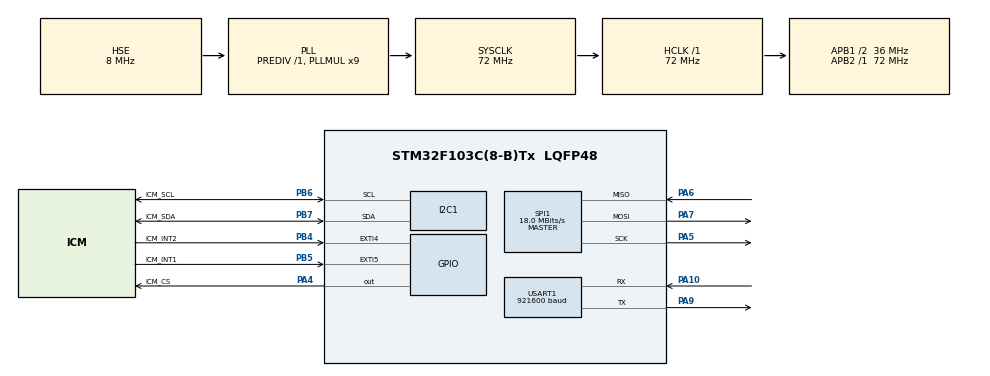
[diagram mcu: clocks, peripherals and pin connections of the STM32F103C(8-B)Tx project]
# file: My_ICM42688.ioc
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I2C1.I2C_Mode=I2C_Fast
Mcu.Family=STM32F1
Mcu.Name=STM32F103C(8-B)Tx
Mcu.Package=LQFP48
NVIC.EXTI4_IRQn=true\:2\:0\:true\:false\:true\:true\:true
NVIC.EXTI9_5_IRQn=true\:1\:0\:true\:false\:true\:true\:true
NVIC.PriorityGroup=NVIC_PRIORITYGROUP_4
NVIC.USART1_IRQn=true\:0\:0\:false\:false\:true\:true\:true
PA10.Mode=Asynchronous
PA10.Signal=USART1_RX
PA13.Mode=Serial_Wire
PA13.Signal=SYS_JTMS-SWDIO
PA14.Mode=Serial_Wire
PA14.Signal=SYS_JTCK-SWCLK
PA4.GPIO_Label=ICM_CS
PA4.GPIO_ModeDefaultOutputPP=GPIO_MODE_OUTPUT_PP
PA4.GPIO_PuPd=GPIO_PULLUP
PA4.Signal=GPIO_Output
PA5.Mode=Full_Duplex_Master
PA5.Signal=SPI1_SCK
PA6.Mode=Full_Duplex_Master
PA6.Signal=SPI1_MISO
PA7.Mode=Full_Duplex_Master
PA7.Signal=SPI1_MOSI
PA9.Mode=Asynchronous
PA9.Signal=USART1_TX
PB4.GPIO_Label=ICM_INT2
PB4.GPIO_ModeDefaultEXTI=GPIO_MODE_IT_RISING
PB4.GPIO_PuPd=GPIO_PULLDOWN
PB4.Signal=GPXTI4
PB5.GPIO_Label=ICM_INT1
PB5.GPIO_ModeDefaultEXTI=GPIO_MODE_IT_RISING
PB5.GPIO_PuPd=GPIO_PULLDOWN
PB5.Signal=GPXTI5
PB6.GPIO_Label=ICM_SCL
PB6.Mode=I2C
PB6.Signal=I2C1_SCL
PB7.GPIO_Label=ICM_SDA
PB7.Mode=I2C
PB7.Signal=I2C1_SDA
PD0-OSC_IN.Mode=HSE-External-Oscillator
PD0-OSC_IN.Signal=RCC_OSC_IN
PD1-OSC_OUT.Mode=HSE-External-Oscillator
PD1-OSC_OUT.Signal=RCC_OSC_OUT
ProjectManager.HeapSize=0x200
ProjectManager.StackSize=0x400
ProjectManager.TargetToolchain=MDK-ARM V5.27
RCC.AHBFreq_Value=72000000
RCC.APB1CLKDivider=RCC_HCLK_DIV2
RCC.APB1Freq_Value=36000000
RCC.APB1TimFreq_Value=72000000
RCC.APB2Freq_Value=72000000
RCC.APB2TimFreq_Value=72000000
RCC.HCLKFreq_Value=72000000
RCC.PLLMUL=RCC_PLL_MUL9
RCC.PLLSourceVirtual=RCC_PLLSOURCE_HSE
RCC.SYSCLKFreq_VALUE=72000000
RCC.SYSCLKSource=RCC_SYSCLKSOURCE_PLLCLK
RCC.USBFreq_Value=72000000
SPI1.BaudRatePrescaler=SPI_BAUDRATEPRESCALER_4
SPI1.CLKPhase=SPI_PHASE_1EDGE
SPI1.CalculateBaudRate=18.0 MBits/s
SPI1.Direction=SPI_DIRECTION_2LINES
SPI1.Mode=SPI_MODE_MASTER
SPI1.VirtualType=VM_MASTER
USART1.BaudRate=921600
USART1.VirtualMode=VM_ASYNC
board=custom

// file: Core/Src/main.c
/* USER CODE BEGIN Header */
/**
  ******************************************************************************
  * @file           : main.c
  * @brief          : Main program body
  ******************************************************************************
  * @attention
  *
  * <h2><center>&copy; Copyright (c) 2025 STMicroelectronics.
  * All rights reserved.</center></h2>
  *
  * This software component is licensed by ST under BSD 3-Clause license,
  * the "License"; You may not use this file except in compliance with the
  * License. You may obtain a copy of the License at:
  *                        opensource.org/licenses/BSD-3-Clause
  *
  ******************************************************************************
  */
/* USER CODE END Header */
#include "main.h"
#include "i2c.h"
#include "spi.h"
#include "usart.h"
#include "gpio.h"

/* USER CODE BEGIN Includes */
#include "function.h"
#include "icm42688.h"
#include "SendToAanyUp.h"
#include "PoseCalc.h"
/* USER CODE END Includes */

/* USER CODE BEGIN PV */
extern ICM42688Set User_set;                           //icm42688参数
//原始数据
INT16_XYZ ACCInt,GYROInt;
//AD转换后的浮点数据
FLOAT_XYZ ACCFloat,GYROFloat;
float tempData;

FLOAT_ANGLE Att_Angle;                                 //欧拉角
FLOAT_XYZ 	Acc_filt,Acc_filtold,Gyr_radold,Gyr_filt;	  //滤波后的数据

uint8_t GETDATAFLAG =0;
/* USER CODE END PV */

void SystemClock_Config(void);

/* USER CODE BEGIN 0 */
///////////根据设备不同改写//////////////////
///////writeReg///////////MCU////////////////
///////readReg////////////MCU////////////////
///////SendToUp///////////MCU////////////////
///////ADChangeACC////////IMU////////////////
///////ADChangeGYRO///////IMU////////////////
/////////////////////////////////////////////

extern I2C_HandleTypeDef hi2c1;
extern SPI_HandleTypeDef hspi1;
uint8_t SPI_ReadWriteByte(uint8_t TxData)
{
	uint8_t Rxdata;
	HAL_SPI_TransmitReceive(&hspi1, &TxData, &Rxdata, 1, 1000);
 	return Rxdata;
}

void SPI_Read(uint8_t* pBuffer, uint8_t ReadAddr, uint16_t NumByteToRead)
{
	uint16_t i;

	HAL_GPIO_WritePin(ICM_CS_GPIO_Port,ICM_CS_Pin,GPIO_PIN_RESET);
	SPI_ReadWriteByte((uint8_t)ReadAddr);
	for (i = 0; i < NumByteToRead; i++)
	{
		pBuffer[i]=SPI_ReadWriteByte(0XFF);
	}
	HAL_GPIO_WritePin(ICM_CS_GPIO_Port,ICM_CS_Pin,GPIO_PIN_SET);
}

void SPI_Write (uint8_t* pBuffer, uint8_t WriteAddr, uint16_t NumByteToWrite)
{
 	uint16_t i;

    HAL_GPIO_WritePin(ICM_CS_GPIO_Port,ICM_CS_Pin,GPIO_PIN_RESET);
   SPI_ReadWriteByte((uint8_t)WriteAddr);
    for (i = 0; i < NumByteToWrite; i++)
	{
		SPI_ReadWriteByte(pBuffer[i]);
	}

	HAL_GPIO_WritePin(ICM_CS_GPIO_Port,ICM_CS_Pin,GPIO_PIN_SET);
}

void writeReg(uint8_t reg, void* pBuf, size_t size)
 {
	 #ifdef  IIC_USE

		HAL_I2C_Mem_Write(&hi2c1,ICM42688_I2C_WRITE_ADDR ,reg, I2C_MEMADD_SIZE_8BIT,pBuf,  size, 0xFFFF);

	 #endif

	#ifdef  SPI_USE

	 SPI_Write(pBuf,reg&0x7F,size);

	 #endif

 }

uint8_t readReg(uint8_t reg, void* pBuf, size_t size)
{

	#ifdef  IIC_USE

	HAL_StatusTypeDef stuats;
	stuats = HAL_I2C_Mem_Read(&hi2c1, ICM42688_I2C_READ_ADDR, reg, I2C_MEMADD_SIZE_8BIT, pBuf, size, 0xFFFF);
	return stuats;

	#endif

	#ifdef  SPI_USE

	SPI_Read(pBuf,reg|0x80,size);
////////////////////////////////////////test
//		HAL_GPIO_WritePin(ICM_CS_GPIO_Port,ICM_CS_Pin,GPIO_PIN_RESET);
//		uint8_t reg2 = (reg | 0x80);
//		HAL_SPI_Transmit( &hspi1, &reg2, 1,  0xFFFF);
//		HAL_SPI_Receive(&hspi1, pBuf, size, 0xffff);
//		HAL_GPIO_WritePin(ICM_CS_GPIO_Port,ICM_CS_Pin,GPIO_PIN_SET);
	#endif

}

/**
  *@author       JCLStill
  *@brief        SendToAanyUp 通信函数，根据不同设备改写
  *@param         void
  *@return        void
  */
void SendToUp(uint8_t *data,size_t size)
{
	 HAL_UART_Transmit(&huart1,(uint8_t *)data,size,0xff);
}

/**
  *@author       JCLStill
  *@brief        PoseCalc
  *@param         void
  *@return        void
  */
float ADChangeACC(float Filtdata )
{
	return Filtdata*User_set._accelRange/1000;
}
/**
  *@author       JCLStill
  *@brief        PoseCalc 角速度转换为弧度
  *@param         void
  *@return        void
  */
float ADChangeGYRO(float Filtdata )
{
	return Filtdata*User_set._gyroRange*3.1415/180;
}

/* USER CODE END 0 */

int main(void)
{
  /* USER CODE BEGIN 1 */
	uint8_t result;
	int16_t AllData[6];
  /* USER CODE END 1 */

  /* MCU Configuration--------------------------------------------------------*/

  /* Reset of all peripherals, Initializes the Flash interface and the Systick. */
  HAL_Init();

  /* Configure the system clock */
  SystemClock_Config();

  /* Initialize all configured peripherals */
  MX_GPIO_Init();
  MX_USART1_UART_Init();
  MX_I2C1_Init();
  MX_SPI1_Init();
  /* USER CODE BEGIN 2 */
	printf("Start init\r\n");

	result = ICM42688_Readme();
	if(result == HAL_OK){
		printf("This is ICM42688\r\n");
	}else{
		printf("SomeThings error \r\n");
		return HAL_ERROR;
	}
	bool ret = true;
//  uint8_t bank = 0;
//	uint8_t value_ = 0x01;
//  writeReg(ICM42688_REG_BANK_SEL,&bank,1);
//	writeReg(ICM42688_DEVICE_CONFIG,&value_,1);
//	HAL_Delay(5);
//	value_ = 0x27;
//	writeReg(ICM42688_DRIVE_CONFIG,&value_,1);

	//SPI 设置 DEVICE_CONFIG DRIVE_CONFIG  INTF_CONFIG4

	////////////ACC GYRO 初始化//////////////////////////////
	////////////如果使用APEX APEX会重新初始化某些位///////////////
	setODRAndFSR(/* who= */GYRO,/* ODR= */ODR_1KHZ, /* FSR = */FSR_0);
  setODRAndFSR(/* who= */ACCEL,/* ODR= */ODR_1KHZ, /* FSR = */FSR_0);

	startTempMeasure();
  startGyroMeasure(/* mode= */LN_MODE);
  startAccelMeasure(/* mode= */LN_MODE);
	////////////FIFO使能////////////////
	#ifdef USEFIFO
	startFIFOMode();
	#endif

	#ifdef INTGET
// INTGET_INTNUM号中断 脉冲模式  高电平有效  推挽模式
	setINTMode(/*INTPin=*/INTGET_INTNUM, /*INTmode=*/0, /*INTPolarity=*/1, /*INTDriveCircuit=*/1);
  enableGETDATAInterrupt();
	#endif

	#ifdef TILTDETE	 //倾斜检测
	// TILEDETE_INTNUM号中断 脉冲模式  高电平有效  推挽模式
	setINTMode(/*INTPin=*/TILEDETE_INTNUM, /*INTmode=*/0, /*INTPolarity=*/1, /*INTDriveCircuit=*/1);
	tiltDetectionInit();
	setTiltDetection();
	enableTILEInterrupt();
	#endif

	#ifdef TAPDETE	 //敲击检测
	// TAPDETE_INTNUM号中断 脉冲模式  高电平有效  推挽模式
	setINTMode(/*INTPin=*/TAPDETE_INTNUM, /*INTmode=*/0, /*INTPolarity=*/1, /*INTDriveCircuit=*/1);
	tapDetectionInit(/* accelMode= */1);
	#endif

	#ifdef SIGNMOVE  //显著运动检测
	//1号中断 脉冲模式  高电平有效  推挽模式
	setINTMode(/*INTPin=*/SIGNMOVE_INTNUM, /*INTmode=*/0, /*INTPolarity=*/1, /*INTDriveCircuit=*/1);
	wakeOnMotionInit();
	setWOMTh(/*axis=*/ALL,/*threshold=*/98);
	enableSMDInterrupt(/*mode=*/2);
	#endif

	#ifdef WAKEMOVE  //运动唤醒检测
	//1号中断 脉冲模式  高电平有效  推挽模式
	setINTMode(/*INTPin=*/WAKEMOVE_INTNUM, /*INTmode=*/0, /*INTPolarity=*/1, /*INTDriveCircuit=*/1);
	wakeOnMotionInit();
	setWOMTh(/*axis=*/ALL,/*threshold=*/98);
	setWOMInterrupt(/* axis = */X_AXIS_WOM|Y_AXIS_WOM|Z_AXIS_WOM);
	#endif

	printf("Init finsh ,start");

  /* USER CODE END 2 */

  /* Infinite loop */
  while (1)
  {

    /* USER CODE BEGIN 3 */

	//////////////////////////////////////////////////////////////////////////////////////////////
	//IMU读取简单测试，不要和其它函数一起调用/////////////////////////////////////////////////////
	//////////////////////////////////////////////////////////////////////////////////////////////
	//samepleGetTest(ACCFloat,GYROFloat);
	////////////获取FIFO数据////////////////
	#ifdef INTGET
		if(GETDATAFLAG == 1)
		{
			GETDATAFLAG = 0 ;
	#endif

	#ifdef USEFIFO
		getFIFOData();
	#endif

	tempData=    getTemperature();
	ACCInt.X	= getInt16AccelDataX();
	ACCInt.Y	= getInt16AccelDataY();
	ACCInt.Z	= getInt16AccelDataZ();

	GYROInt.X	= getInt16GyroDataX();
	GYROInt.Y	= getInt16GyroDataY();
	GYROInt.Z	= getInt16GyroDataZ();

  ACCFloat.X = ADchange(ACCInt.X,User_set._accelRange);
	ACCFloat.Y = ADchange(ACCInt.Y,User_set._accelRange);
	ACCFloat.Z = ADchange(ACCInt.Z,User_set._accelRange);

	GYROFloat.X= ADchange(GYROInt.X,User_set._gyroRange);
  GYROFloat.Y= ADchange(GYROInt.Y,User_set._gyroRange);
  GYROFloat.Z= ADchange(GYROInt.Z,User_set._gyroRange);

	#ifdef COMPRINTF_FLOAT
	printf("Temperature: %.2f C",tempData);
  printf("\r\n");

  printf("Accel_X: %.2f mg ",ACCFloat.X);
	printf("   Accel_Y: %.2f mg",ACCFloat.Y);
  printf("    Accel_Z: %.2f mg",ACCFloat.Z);
  printf("\r\n");

  printf("Gyro_X:  %.2f dps ",GYROFloat.X);
	printf("    Gyro_y:  %.2f dps ",GYROFloat.Y);
	printf("    Gyro_Z:  %.2f dps",GYROFloat.Z);
  printf("\r\n");
	#endif

////////////////////////////////////////////////////

////////////////////////////////////////////////////////

	#ifdef USEUPCOM
	int16_t AllData[6];
	AllData[0]=ACCFloat.X;
	AllData[1]=ACCFloat.Y;
	AllData[2]=ACCFloat.Z;
	AllData[3]=GYROFloat.X;
	AllData[4]=GYROFloat.Y;
	AllData[5]=GYROFloat.Z;
	SendToUpcomSensor(AllData,0);
	#endif

	//////////////////////////////////////////////////////////////////////////////////////////////
	//姿态解算////////////////////////////////////////////////////////////////////////////////////
	//////////////////////////////////////////////////////////////////////////////////////////////
	//送入IMU获取的 ACCInt,GYROInt
	#ifdef POSEEN
	Prepare_Data(ACCInt,GYROInt); 												//获取姿态解算所需数据
	IMUupdate(&Gyr_filt,&Acc_filt,&Att_Angle); 						//四元数姿态解算
	#endif

	#ifdef USEUPCOM
	int16_t Eulervalue[3];
	Eulervalue[0]=Att_Angle.rol;
	Eulervalue[1]=Att_Angle.pit;
	Eulervalue[2]=Att_Angle.yaw;
	SendToUpcomEuler(Eulervalue,3);
	#endif
	////////////////////////////////////////////////////////////////////////////////////////////
	#ifdef POLLGET
		HAL_Delay(1);
	#endif

	#ifdef INTGET
		}
	#endif
	}

  /* USER CODE END 3 */
}

void SystemClock_Config(void)
{
  RCC_OscInitTypeDef RCC_OscInitStruct = {0};
  RCC_ClkInitTypeDef RCC_ClkInitStruct = {0};

  /** Initializes the RCC Oscillators according to the specified parameters
  * in the RCC_OscInitTypeDef structure.
  */
  RCC_OscInitStruct.OscillatorType = RCC_OSCILLATORTYPE_HSE;
  RCC_OscInitStruct.HSEState = RCC_HSE_ON;
  RCC_OscInitStruct.HSEPredivValue = RCC_HSE_PREDIV_DIV1;
  RCC_OscInitStruct.HSIState = RCC_HSI_ON;
  RCC_OscInitStruct.PLL.PLLState = RCC_PLL_ON;
  RCC_OscInitStruct.PLL.PLLSource = RCC_PLLSOURCE_HSE;
  RCC_OscInitStruct.PLL.PLLMUL = RCC_PLL_MUL9;
  if (HAL_RCC_OscConfig(&RCC_OscInitStruct) != HAL_OK)
  {
    Error_Handler();
  }
  /** Initializes the CPU, AHB and APB buses clocks
  */
  RCC_ClkInitStruct.ClockType = RCC_CLOCKTYPE_HCLK|RCC_CLOCKTYPE_SYSCLK
                              |RCC_CLOCKTYPE_PCLK1|RCC_CLOCKTYPE_PCLK2;
  RCC_ClkInitStruct.SYSCLKSource = RCC_SYSCLKSOURCE_PLLCLK;
  RCC_ClkInitStruct.AHBCLKDivider = RCC_SYSCLK_DIV1;
  RCC_ClkInitStruct.APB1CLKDivider = RCC_HCLK_DIV2;
  RCC_ClkInitStruct.APB2CLKDivider = RCC_HCLK_DIV1;

  if (HAL_RCC_ClockConfig(&RCC_ClkInitStruct, FLASH_LATENCY_2) != HAL_OK)
  {
    Error_Handler();
  }
}

/* USER CODE BEGIN 4 */
void HAL_GPIO_EXTI_Callback(uint16_t GPIO_Pin)
{
	uint8_t status;
	#ifdef INTGET
		GETDATAFLAG = 1;
	status= readInterruptStatus(/* reg= */ICM42688_INT_STATUS);
	#endif

	#ifdef TILEDETE
	if(GPIO_Pin== (0x0040 >>TILEDETE_INTNUM) )
	 {
		status= readInterruptStatus(/* reg= */ICM42688_INT_STATUS3);
		 printf("status %x\r\n",status);
    if(status & ICM42688_TILT_DET_INT){
      printf("TILE HAPPEN \r\n");
    }
	 }
	 printf("TILE \r\n");
	 printf("\r\n");
	#endif

	#ifdef TAPDETE
  if(GPIO_Pin== (0x0040 >>TAPDETE_INTNUM) )
  {
		uint32_t tapNum;
		uint8_t tapAxis;
    status= readInterruptStatus(/* reg= */ICM42688_INT_STATUS3);
//		printf("status %x\r\n",status);
    if(status & ICM42688_TAP_DET_INT){
      getTapInformation();  //Get tap information
      tapNum = numberOfTap();  //Get the number of tap: single-tap TAP_SINGLE or double tap TAP_DOUBLE
      tapAxis = axisOfTap();  //Get the axis on which tap occurred: X_AXIS, Y_AXIS or Z_AXIS
      if(tapAxis == X_AXIS){
        printf("X axis: ");
      } else if(tapAxis == Y_AXIS){
        printf("Y axis: ");
      } else if(tapAxis == Z_AXIS){
        printf("Z axis: ");
      }
      if(tapNum == TAP_SINGLE){
        printf("Single\r\n");
      } else if(tapNum == TAP_DOUBLE){
        printf("Double\r\n");

      }
    }

	 }
		#endif

	#ifdef SIGNMOVE
  if(GPIO_Pin== (0x0040 >>SIGNMOVE_INTNUM) )
  {
		status= readInterruptStatus(/*reg=*/ ICM42688_INT_STATUS2);
    if(status & ICM42688_SMD_INT){
      printf("SMD_INT\r\n");
    }
	 }
	#endif

	#ifdef WAKEMOVE
	if(GPIO_Pin== (0x0040 >>WAKEMOVE_INTNUM) )
	 {
	 status= readInterruptStatus(/*reg=*/ ICM42688_INT_STATUS2);
    if(status & ICM42688_WOM_X_INT){
      printf("X_AXIS_WOM ");
    }
    if(status & ICM42688_WOM_Y_INT){
      printf("Y_AXIS_WOM ");
    }
    if(status & ICM42688_WOM_Z_INT){
     printf("Z_AXIS_WOM ");
    }
	 printf("\r\n");
	 }

	#endif
}

/* USER CODE END 4 */

void Error_Handler(void)
{
}

/************************ (C) COPYRIGHT STMicroelectronics *****END OF FILE****/
